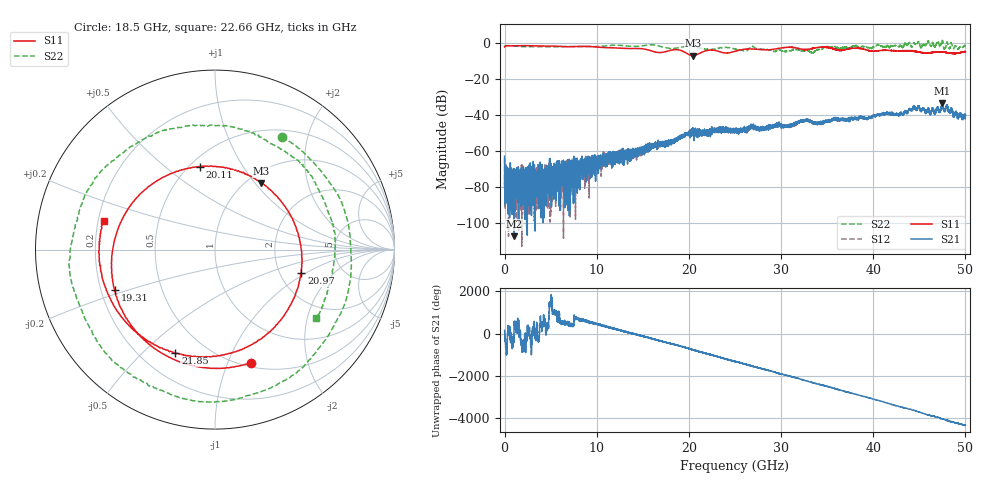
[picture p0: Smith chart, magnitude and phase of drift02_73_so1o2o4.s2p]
!Created with skrf (http://scikit-rf.org).
# Hz S RI R 50.0
!freq ReS11 ImS11 ReS21 ImS21 ReS12 ImS12 ReS22 ImS22
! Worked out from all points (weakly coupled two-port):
!   10001 points, 300 kHz to 50 GHz, reference 50 ohm
!   highest |S21| = -33.53 dB at 47.5 GHz (marker M1); lowest = -107.4 dB at 1.02 GHz (marker M2)
!   lowest |S11| = -6.9 dB at 20.43 GHz (marker M3), VSWR 2.64, Z = 57.9 + j53.7 ohm
!   |S11| at or under -10 dB: nowhere
!   |S22| runs from -5.4 to 1.5 dB; largest |S21 - S12| = 0.0031
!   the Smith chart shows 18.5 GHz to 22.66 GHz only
!   S11 on the Smith chart (normalised r, x): 18.5 GHz: 0.54, -1.21; 19.31 GHz: 0.26, -0.18; 20.11 GHz: 0.56, +0.67; 20.97 GHz: 2.63, -0.91; 21.85 GHz: 0.34, -0.63; 22.66 GHz: 0.22, +0.12
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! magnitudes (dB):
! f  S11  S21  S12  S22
! 300 kHz  -2.1  -62.9  -64.0  -1.3
! 255.3 MHz  -1.4  -87.1  -73.7  -1.4
! 1.02 GHz  -1.5  -107.4  -92.8  -1.6
! 4.295 GHz  -1.6  -72.8  -76.0  -2.0
! 8.335 GHz  -1.7  -65.6  -67.7  -1.9
! 16.67 GHz  -5.2  -56.5  -56.6  -1.4
! 18.5 GHz  -3.6  -52.8  -54.5  -2.8
! 19.31 GHz  -4.4  -52.3  -51.2  -2.1
! 20.11 GHz  -6.6  -50.3  -52.0  -1.5
! 20.43 GHz  -6.9  -48.8  -50.5  -1.8
! 20.97 GHz  -6.0  -50.7  -49.2  -2.2
! 21.85 GHz  -4.2  -49.4  -48.9  -3.5
! 22.66 GHz  -3.9  -49.1  -48.2  -3.3
! 25 GHz  -4.5  -47.6  -48.3  -3.2
! 26.11 GHz  -3.3  -48.4  -47.8  -4.3
! 26.9 GHz  -3.2  -46.5  -45.7  -1.7
! 28.28 GHz  -3.7  -46.9  -47.8  -3.6
! 33.34 GHz  -3.0  -43.7  -44.0  -5.2
! 34.89 GHz  -2.3  -43.1  -43.9  -2.3
! 41.67 GHz  -4.0  -39.1  -39.5  -2.0
! 47.5 GHz  -4.9  -33.5  -33.9  1.3
! 50 GHz  -4.7  -39.7  -40.0  -1.6
